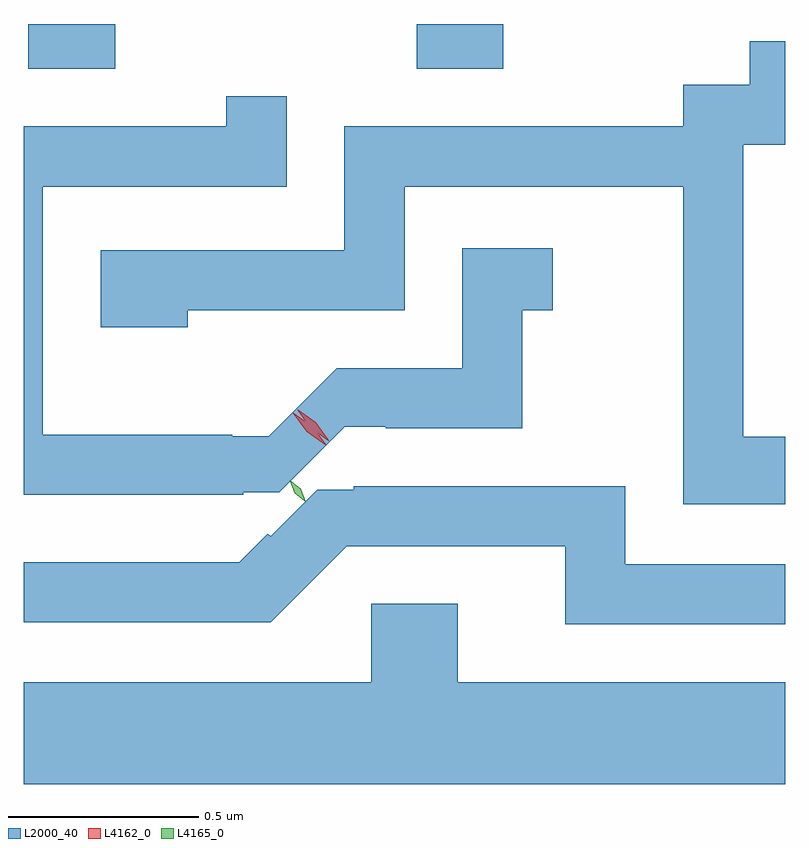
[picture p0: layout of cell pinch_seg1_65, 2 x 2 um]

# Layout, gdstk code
import gdstk
lib = gdstk.Library(unit=1e-6, precision=1e-09)
def R(c, l, rs):  # rectangles x0, y0, x1, y1
    for r in rs: c.add(gdstk.rectangle(r[:2], r[2:], *l))
def P(c, l, *ps):  # polygons
    for p in ps: c.add(gdstk.Polygon(p, *l))
L2000_40 = (2000, 40)
L4162_0 = (4162, 0)
L4165_0 = (4165, 0)

pinch_seg1_65 = lib.new_cell('pinch_seg1_65')
R(pinch_seg1_65, L2000_40, [(1435.271,848.176,1435.499,848.293), (1436.291,848.176,1436.519,848.293)])
P(pinch_seg1_65, L2000_40, [(1437.259,847.209),(1437.149,847.209),(1437.149,847.976),(1437.259,847.976),(1437.259,848.248),(1437.166,848.248),(1437.166,848.134),(1436.991,848.134),(1436.991,848.024),(1436.101,848.024),(1436.101,847.699),(1435.461,847.699),(1435.461,847.496),(1435.689,847.496),(1435.689,847.541),(1436.259,847.541),(1436.259,847.866),(1436.991,847.866),(1436.991,847.031),(1437.259,847.031)],
  [(1435.835,847.063),(1435.93,847.063),(1436.102,847.235),(1436.21,847.235),(1436.21,847.231),(1436.569,847.231),(1436.569,847.541),(1436.648,847.541),(1436.648,847.704),(1436.411,847.704),(1436.411,847.389),(1436.081,847.389),(1435.902,847.21),(1435.807,847.21),(1435.807,847.214),(1435.309,847.214),(1435.309,847.866),(1435.949,847.866),(1435.949,848.103),(1435.791,848.103),(1435.791,848.024),(1435.259,848.024),(1435.259,847.056),(1435.835,847.056)],
  [(1437.259,846.874),(1436.839,846.874),(1436.839,847.079),(1436.225,847.079),(1436.225,847.078),(1436.125,847.078),(1436.125,847.069),(1436.03,847.069),(1435.907,846.947),(1435.9,846.954),(1435.825,846.879),(1435.259,846.879),(1435.259,846.721),(1435.907,846.721),(1436.107,846.921),(1436.681,846.921),(1436.681,846.716),(1437.259,846.716)],
  [(1437.259,846.564),(1436.399,846.564),(1436.399,846.769),(1436.171,846.769),(1436.171,846.564),(1435.259,846.564),(1435.259,846.296),(1437.259,846.296)])
P(pinch_seg1_65, L4162_0, [(1436.052,847.186),(1436.002,847.222),(1435.966,847.271),(1435.966,847.272),(1435.967,847.272),(1436.016,847.236),(1436.053,847.187),(1436.053,847.186)],
  [(1436.059,847.198),(1436.012,847.232),(1435.979,847.278),(1435.979,847.279),(1435.98,847.279),(1436.026,847.246),(1436.06,847.199),(1436.06,847.198)])
P(pinch_seg1_65, L4165_0, [(1435.999,847.038),(1435.971,847.06),(1435.957,847.094),(1435.957,847.094),(1435.958,847.094),(1435.987,847.072),(1436,847.038),(1436,847.038)],
  [(1435.997,847.039),(1435.97,847.06),(1435.96,847.092),(1435.96,847.093),(1435.96,847.093),(1435.987,847.071),(1435.998,847.039),(1435.998,847.039)])

lib.write_gds('pinch_seg1_65.gds')
